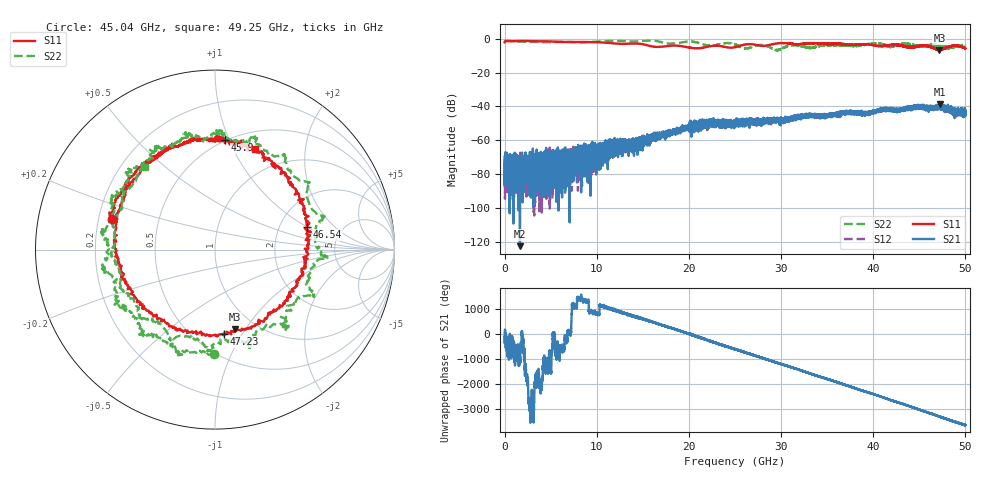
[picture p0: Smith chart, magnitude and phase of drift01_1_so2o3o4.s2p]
!Created with skrf (http://scikit-rf.org).
# Hz S RI R 50.0
!freq ReS11 ImS11 ReS21 ImS21 ReS12 ImS12 ReS22 ImS22
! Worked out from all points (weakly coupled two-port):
!   10001 points, 300 kHz to 50 GHz, reference 50 ohm
!   highest |S21| = -38.76 dB at 47.23 GHz (marker M1); lowest = -122.6 dB at 1.665 GHz (marker M2)
!   lowest |S11| = -6.8 dB at 47.18 GHz (marker M3), VSWR 2.69, Z = 40 - j45 ohm
!   |S11| at or under -10 dB: nowhere
!   |S22| runs from -6.9 to -1.1 dB; largest |S21 - S12| = 0.0036
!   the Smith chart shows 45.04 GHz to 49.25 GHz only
!   S11 on the Smith chart (normalised r, x): 45.04 GHz: 0.26, +0.14; 45.9 GHz: 0.49, +0.96; 46.54 GHz: 2.86, +1.01; 47.23 GHz: 0.69, -0.83; 49.25 GHz: 0.69, +1.22
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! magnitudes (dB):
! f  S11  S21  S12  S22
! 300 kHz  -2.1  -69.7  -70.9  -1.3
! 270.3 MHz  -1.4  -68.6  -69.5  -1.4
! 1.665 GHz  -1.4  -122.6  -76.1  -1.8
! 7.29 GHz  -2.0  -70.0  -73.3  -2.0
! 8.335 GHz  -2.0  -76.0  -66.9  -2.1
! 16.67 GHz  -4.9  -56.3  -56.5  -1.6
! 21.66 GHz  -5.2  -50.9  -48.7  -3.6
! 25 GHz  -5.0  -49.3  -49.0  -3.4
! 26.19 GHz  -3.4  -48.0  -49.3  -5.7
! 28.09 GHz  -4.3  -46.7  -48.3  -3.8
! 29.52 GHz  -2.9  -47.4  -48.7  -6.7
! 31.32 GHz  -3.1  -46.6  -46.5  -3.9
! 33.34 GHz  -2.6  -44.8  -45.8  -5.3
! 40.13 GHz  -3.8  -43.6  -43.1  -2.8
! 41.67 GHz  -3.9  -41.9  -41.6  -4.6
! 45.04 GHz  -4.5  -39.8  -40.4  -4.7
! 45.9 GHz  -4.3  -40.8  -41.3  -4.1
! 46.54 GHz  -5.5  -42.3  -39.8  -4.0
! 47.18 GHz  -6.8  -40.4  -39.8  -4.5
! 47.23 GHz  -6.5  -38.8  -40.2  -4.6
! 49.25 GHz  -4.4  -42.8  -42.3  -4.4
! 50 GHz  -5.8  -42.7  -46.6  -4.3
